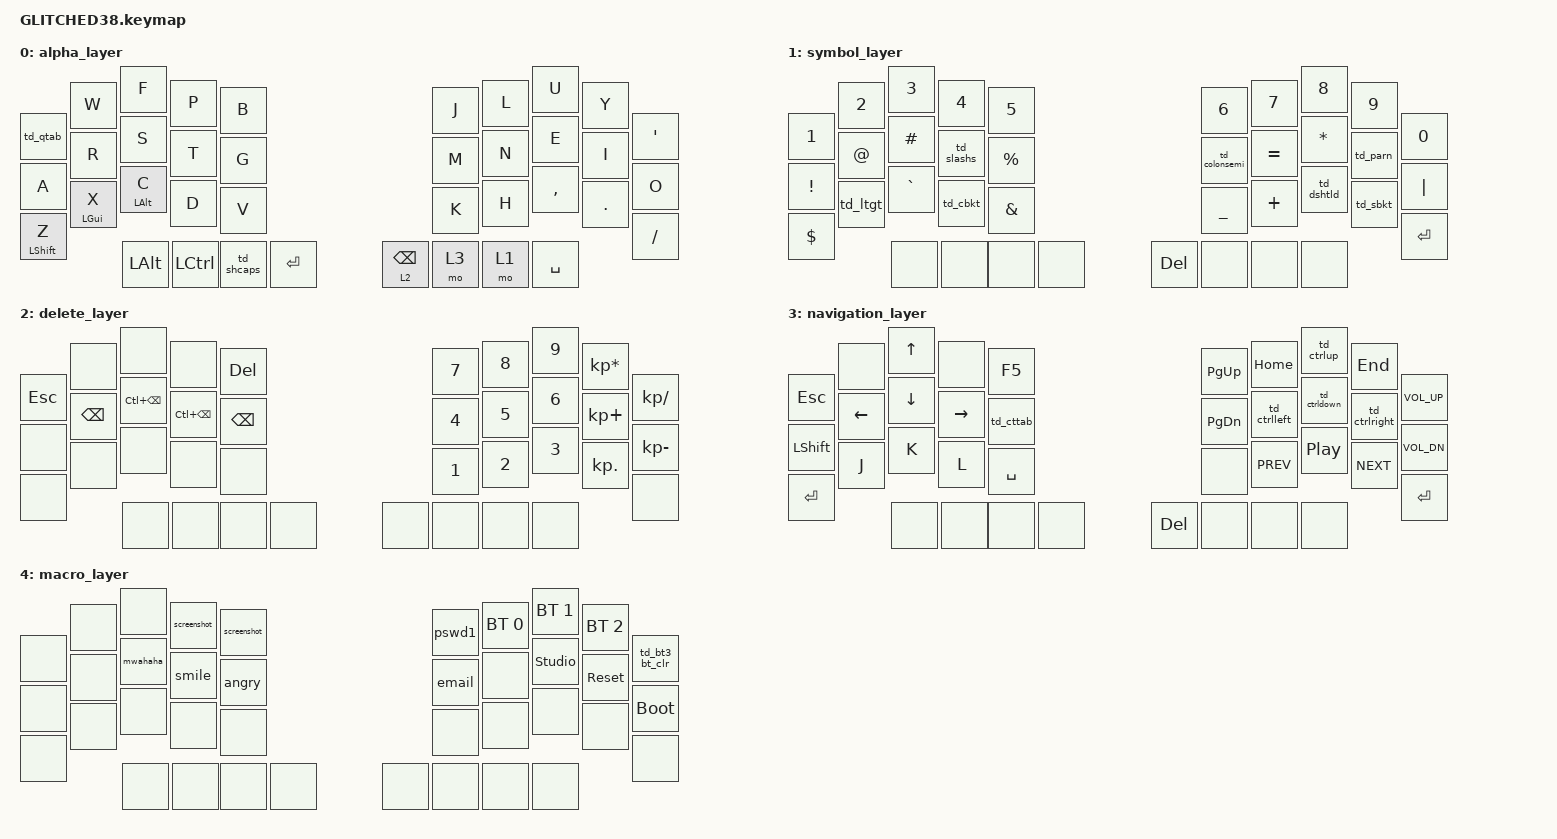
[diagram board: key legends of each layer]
//made with AI, good luck! 

#include <behaviors.dtsi>
#include <dt-bindings/zmk/keys.h>
#include <dt-bindings/zmk/bt.h>

// Layer definitions
#define L_ALPHA 0
#define L_SYMBOL 1
#define L_DELETE 2
#define L_NAV 3
#define L_MACRO 4

/ {
    /*
     * 3x5+4 Matrix Index Positions Map Reference:
     * Left Hand Alphas:                   Right Hand Alphas:
     *  0   1   2   3   4                   5   6   7   8   9
     * 10  11  12  13  14                  15  16  17  18  19
     * 20  21  22  23  24                  25  26  27  28  29
     *             Left Thumbs:      Right Thumbs:
     *             30  31  32  33    34  35  36  37
     */

    behaviors {
        // Double-tap definitions
        td_qtab: tapdance_tab_and_q {
            compatible = "zmk,behavior-tap-dance";
            #binding-cells = <0>;
            tapping-term-ms = <200>;
            bindings = <&kp TAB>, <&kp Q>;
        };
        td_sbkt: tapdance_square_brackets {
            compatible = "zmk,behavior-tap-dance";
            #binding-cells = <0>;
            tapping-term-ms = <200>;
            bindings = <&kp LBRC>, <&kp RBRC>;
        };
        td_cbkt: tapdance_curly_brackets {
            compatible = "zmk,behavior-tap-dance";
            #binding-cells = <0>;
            tapping-term-ms = <200>;
            bindings = <&kp LBRC>, <&kp RBRC>;
        };
        td_ltgt: tapdance_less_greater {
            compatible = "zmk,behavior-tap-dance";
            #binding-cells = <0>;
            tapping-term-ms = <200>;
            bindings = <&kp LESS_THAN>, <&kp GREATER_THAN>;
        };
        td_parn: tapdance_parentheses {
            compatible = "zmk,behavior-tap-dance";
            #binding-cells = <0>;
            tapping-term-ms = <200>;
            bindings = <&kp LPAR>, <&kp RPAR>;
        };
        td_angles: tapdance_angles {
            compatible = "zmk,behavior-tap-dance";
            #binding-cells = <0>;
            tapping-term-ms = <200>;
            bindings = <&kp LESS_THAN>, <&kp GREATER_THAN>;
        };
        td_shcaps: tapdance_shift_and_caps {
            compatible = "zmk,behavior-tap-dance";
            #binding-cells = <0>;
            tapping-term-ms = <300>;
            bindings = <&kp LSHFT>, <&kp CAPS>;
        };
        td_slashs: tapdance_slash_and_backslash {
            compatible = "zmk,behavior-tap-dance";
            #binding-cells = <0>;
            tapping-term-ms = <200>;
            bindings = <&kp FSLH>, <&kp BSLH>;
        };
        td_cttab: ctrl_tab {
            compatible = "zmk,behavior-tap-dance";
            #binding-cells = <0>;
            tapping-term-ms = <200>;
            bindings = <&kp LC(TAB)>, <&kp LC(LS(TAB))>;
        };
        td_colonsemi: tapdance_colon_and_semicolon {
            compatible = "zmk,behavior-tap-dance";
            #binding-cells = <0>;
            tapping-term-ms = <200>;
            bindings = <&kp COLON>, <&kp SCLN>;
        };
        td_ctrlleft: control_left {
            compatible = "zmk,behavior-tap-dance";
            #binding-cells = <0>;
            tapping-term-ms = <200>;
            bindings = <&kp LEFT>, <&kp LC(LEFT)>;
        };
        td_ctrlright: control_right {
            compatible = "zmk,behavior-tap-dance";
            #binding-cells = <0>;
            tapping-term-ms = <200>;
            bindings = <&kp RIGHT>, <&kp LC(RIGHT)>;
        };
        td_ctrlup: control_up {
            compatible = "zmk,behavior-tap-dance";
            #binding-cells = <0>;
            tapping-term-ms = <200>;
            bindings = <&kp UP>, <&kp LC(UP)>;
        };
        td_ctrldown: control_down {
            compatible = "zmk,behavior-tap-dance";
            #binding-cells = <0>;
            tapping-term-ms = <200>;
            bindings = <&kp DOWN>, <&kp LC(DOWN)>;
        };
        td_dshtld: tapdance_dash_and_tilde {
            compatible = "zmk,behavior-tap-dance";
            #binding-cells = <0>;
            tapping-term-ms = <200>;
            bindings = <&kp MINUS>, <&kp TILDE>;
        };
        td_bt3_bt_clr: tapdance_bluetooth_3_and_bluetooth_clear {
            compatible = "zmk,behavior-tap-dance";
            #binding-cells = <0>;
            tapping-term-ms = <200>;
            bindings = <&bt BT_SEL 3>, <&bt BT_CLR>;
        };
        
        
        // Corrected hold-tap inheritance patterns:
        ht: hold_tap_tap_preferred {
            compatible = "zmk,behavior-hold-tap";
            #binding-cells = <2>;
            flavor = "tap-preferred";
            tapping-term-ms = <200>; 
            bindings = <&kp>, <&kp>;
        };
        htl: hold_tap_tap_preferred_long {
            compatible = "zmk,behavior-hold-tap";
            #binding-cells = <2>;
            flavor = "tap-preferred";
            tapping-term-ms = <500>; 
            bindings = <&kp>, <&kp>;
        };
        hh: hold_tap_hold_preferred {
            compatible = "zmk,behavior-hold-tap";
            #binding-cells = <2>;
            flavor = "hold-preferred";
            tapping-term-ms = <200>; 
            bindings = <&kp>, <&kp>;
        };
        hl: hold_tap_layer_toggle {
            compatible = "zmk,behavior-hold-tap";
            #binding-cells = <2>;
            flavor = "hold-preferred";
            tapping-term-ms = <200>; 
            bindings = <&mo>, <&kp>;
        };
    };


    macros {
        nexttab: nexttab {
            compatible = "zmk,behavior-macro";
            #binding-cells = <0>;
            bindings = <&macro_press &kp LCTRL>, <&macro_tap &kp TAB>, <&macro_release &kp LCTRL>;
        };
        prevtab: prevtab {
            compatible = "zmk,behavior-macro";
            #binding-cells = <0>;
            bindings = <&macro_press &kp LCTRL &kp LSHFT>, <&macro_tap &kp TAB>, <&macro_release &kp LCTRL &kp LSHFT>;
        };
        smile: smile {
            compatible = "zmk,behavior-macro";
            #binding-cells = <0>;
            bindings = <&macro_tap &kp COLON>, <&macro_tap &kp RPAR>;
        };
        angry: angry {
            compatible = "zmk,behavior-macro";
            #binding-cells = <0>;
            bindings = <&macro_tap &kp GREATER_THAN &kp COLON &kp LPAR>;
        };
        mwahaha: mwahaha {
            compatible = "zmk,behavior-macro";
            #binding-cells = <0>;
            bindings = <&macro_tap &kp GREATER_THAN &kp COLON &kp RPAR>;
        };
        pswd1: password1 {
            compatible = "zmk,behavior-macro";
            #binding-cells = <0>;
            bindings = <&macro_press &kp LEFT_SHIFT>, <&macro_tap &kp M>, <&macro_release &kp LEFT_SHIFT>,
            <&macro_tap &kp I &kp K &kp E &kp Y &kp S &kp C &kp H &kp N0 &kp N0 &kp EXCL>,
            <&macro_tap &kp ENTER>;
        };
        email: email {
            compatible = "zmk,behavior-macro";
            #binding-cells = <0>;
            bindings = <&macro_press &kp LEFT_SHIFT>, <&macro_tap &kp M>, <&macro_release &kp LEFT_SHIFT>,
            <&macro_tap &kp I &kp K &kp E &kp Y &kp DOT &kp O &kp S &kp T &kp E &kp H &kp A &kp U &kp D &kp T &kp AT &kp G &kp M &kp A &kp I &kp L &kp DOT &kp C &kp O &kp M>;
        };
        screenshot: screenshot {
            compatible = "zmk,behavior-macro";
            #binding-cells = <0>;
            bindings
                = <&macro_press &kp LGUI &kp LEFT_SHIFT>, <&macro_tap &kp S>, <&macro_release &kp LGUI &kp LEFT_SHIFT>;
        };

//        wfh: wfh {
//            compatible = "zmk,behavior-macro";
//            #binding-cells = <0>;
//            bindings = <&macro_types STRING_HOLD("EMAIL ADDRESS")>, <&macro_tap &kp ENTER>, <&macro_types STRING_HOLD("password")>, <&macro_tap &kp ENTER>;
//        };
    };

    combos {
        compatible = "zmk,combos";
        combo_macro {
            timeout-ms = <250>; 
            key-positions = <33 34>; 
            bindings = <&sl 4>; // Toggles the Macro layer on combo press 
        };
        
        // COMBO_QUESTION uses KC_SHCAPS (Position 36) + KC_ENT (Position 37)
        combo_question {
            timeout-ms = <250>; 
            key-positions = <36 37>; 
            bindings = <&kp QMARK>;
        };
    };

//  How to flash to keyboard:
//  connect to USB
//  Reset keyboard - press reset button or gnd and rst pins twice fast
//  go to terminal of vs code and run these commands:
//  git add .
//  git commit -m "your message"
//  git push

    keymap {
        compatible = "zmk,keymap";
//layer 0
        alpha_layer {
            bindings = <
    &td_qtab       &kp W        &kp F        &kp P        &kp B                      &kp J        &kp L        &kp U        &kp Y        &kp SQT 
    &kp A          &kp R        &kp S        &kp T        &kp G                      &kp M        &kp N        &kp E        &kp I        &kp O
    &hh LSHIFT Z   &hh LGUI X   &ht LALT C   &kp D        &kp V                      &kp K        &kp H        &kp COMMA    &kp DOT      &kp FSLH
                   &kp LALT     &kp LCTRL    &lt 2 BSPC   &mo 3                      &mo 1        &kp SPC      &td_shcaps   &kp ENTER
            >;
        };
//layer 1
        symbol_layer {
            bindings = <
    &kp N1         &kp N2       &kp N3       &kp N4       &kp N5                     &kp N6       &kp N7       &kp N8       &kp N9       &kp N0
    &kp EXCL       &kp AT       &kp HASH     &td_slashs   &kp PRCNT                 &td_colonsemi &kp EQUAL    &kp ASTRK    &td_parn     &kp PIPE
    &kp DLLR       &td_ltgt     &kp GRAVE    &td_cbkt     &kp AMPS                   &kp UNDER    &kp PLUS     &td_dshtld   &td_sbkt     &kp ENTER
                   &none        &none        &kp DELETE   &none                      &none        &none        &none        &none
            >;
        };
//layer 2
        delete_layer {
            bindings = <
    &kp ESC        &none        &none        &none        &kp DEL                    &kp N7       &kp N8       &kp N9       &kp KP_MULTIPLY &kp KP_DIVIDE
    &none          &kp BSPC     &kp LC(BSPC) &kp LC(BSPC) &kp BSPC                   &kp N4       &kp N5       &kp N6       &kp KP_PLUS     &kp KP_MINUS
    &none          &none        &none        &none        &none                      &kp N1       &kp N2       &kp N3       &kp KP_DOT      &none
                   &none        &none        &none        &none                      &none        &none        &none        &none
            >;
        };
//layer 3
        navigation_layer {
            bindings = <
    &kp ESC        &none        &kp UP       &none        &kp F5                     &kp PG_UP    &kp HOME     &td_ctrlup      &kp END        &kp C_VOL_UP
    &kp LEFT_SHIFT &kp LEFT     &kp DOWN     &kp RIGHT    &td_cttab                  &kp PG_DN    &td_ctrlleft &td_ctrldown    &td_ctrlright  &kp C_VOL_DN
    &kp ENTER      &kp J        &kp K        &kp L        &kp SPACE                  &none        &kp K_PREV   &kp C_PLAY_PAUSE &kp K_NEXT    &kp ENTER
                   &none        &none        &kp DELETE   &none                      &none        &none        &none        &none
            >;
        };
//layer 4
        macro_layer {
            bindings = <
    &none          &none        &none        &screenshot  &screenshot                &pswd1       &bt BT_SEL 0 &bt BT_SEL 1 &bt BT_SEL 2 &td_bt3_bt_clr
    &none          &none        &mwahaha     &smile       &angry                     &email       &none      &studio_unlock &sys_reset   &bootloader    
    &none          &none        &none        &none        &none                      &none        &none        &none        &none        &none  
                   &none        &none        &none        &none                      &none        &none        &none        &none
            >;
        };
    };
};







    




